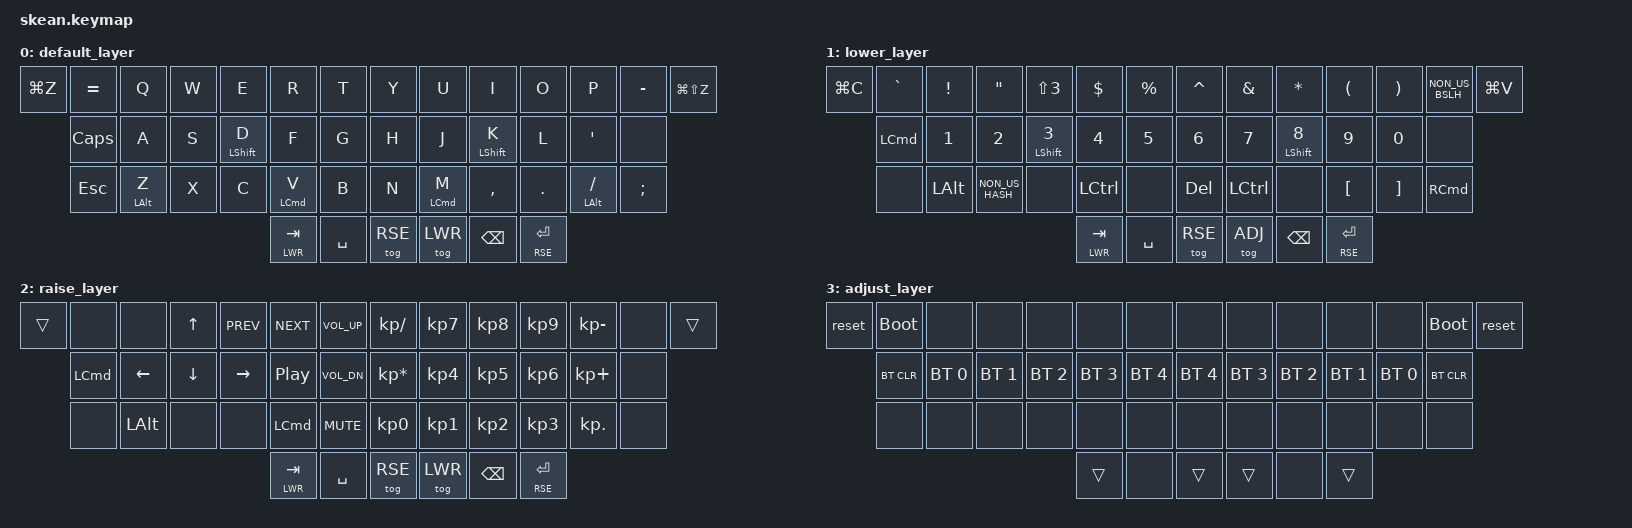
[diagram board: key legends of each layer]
/*
 * Copyright (c) 2020 The ZMK Contributors
 *
 * SPDX-License-Identifier: MIT
 */

#include <behaviors.dtsi>
#include <dt-bindings/zmk/keys.h>
#include <dt-bindings/zmk/bt.h>

#define DEF 0
#define LWR 1
#define RSE 2
#define ADJ 3

&lt { quick_tap_ms = <250>; };
&mt { quick_tap_ms = <250>; };

/ {
        keymap {
                compatible = "zmk,keymap";

                default_layer {
// -----------------------------------------------------------------------------------------
// | UNDO | = |  Q  |  W  |  E  |  R  |  T  |   |  Y  |  U   |  I  |  O  |  P  | - | REDO |
//        | CAPS |  A  |  S  |  D/SHIFT  |  F  |  G  |   |  H  |  J   |  K/SHIFT  |  L  |  '  | TK |
//        | ESC |  Z/OPT  |  X  |  C  |  V/CMD  |  B  |   |  N  |  M/CMD   |  ,  |  .  |  //OPT  | ; |
//                           | TAB | SPC | RSE |   | LWR | BKSP | ENTER |
                        bindings = <
  &kp LG(Z) &kp EQUAL &kp Q &kp W &kp E &kp R &kp T         &kp Y  &kp U  &kp I  &kp O  &kp P  &kp MINUS &kp LG(LS(Z))
            &kp CAPS &kp A &kp S &mt LSHIFT D  &kp F &kp G        &kp H   &kp J  &mt LSHIFT K &kp L &kp SQT &none
            &kp ESC &mt LALT Z &kp X &kp C &mt LCMD V &kp B       &kp N &mt LCMD M  &kp COMMA &kp DOT &mt LALT FSLH &kp SEMI
                         &lt LWR TAB &kp SPACE &tog RSE &tog LWR &kp BKSP &lt RSE ENTER
                        >;
                };
                lower_layer {
// -----------------------------------------------------------------------------------------
// |COPY |  `  |  !  |  "  |  ₤  |  $  |  %  |   |  ^  |  &  |  *  |  (  |  )  |  |  |PASTE |
//          |    |  1  |  2  |  3/SHIFT  |  4  |  5  |   |  6  |  7  |  8/SHIFT  |  9  |  0  |     |  
//          |    |  OPT |  # |    | CMD |    |   |  DEL |  CMD |    |  [  |  ] |   |
//                  | TAB | SPC | RSE |   | LWR | BKSP | ENTER |
                        bindings = <
   &kp LG(C) &kp GRAVE &kp EXCL &kp DQT &kp LS(3) &kp DLLR &kp PRCNT        &kp CARET &kp AMPS &kp STAR &kp LPAR &kp RPAR &kp NON_US_BSLH &kp LG(V)
                       &kp LCMD &kp N1  &kp N2 &mt LSHIFT N3 &kp N4   &kp N5         &kp N6  &kp N7 &mt LSHIFT N8   &kp N9   &kp N0   &none
                       &none &kp LALT &kp NON_US_HASH &none &kp LCTRL &none         &kp DEL &kp LCTRL &none &kp LBKT &kp RBKT &kp RCMD
                                  &lt LWR TAB &kp SPACE &tog RSE &tog ADJ &kp BKSP &lt RSE ENTER
                        >;
                };

                raise_layer {
// -----------------------------------------------------------------------------------------
// |     |      |     |  UP | PREV| NEXT|VOL U|   |  /  |  7  |  8  |  9  |  -  |     |     |
//       | CMD | LEFT|DOWN |RIGHT|  PP |VOL D|   |  *  |  4  |5/SHFT|  6 |  +  |     |
//       |      | OPT |     |     |CMD | MUTE|   |  0  |  1  |  2   |  3 |  .  |     |
                        bindings = <
   &trans    &none  &none     &kp UP   &kp C_PREV &kp C_NEXT &kp C_VOL_UP       &kp KP_SLASH    &kp KP_N7 &kp KP_N8 &kp KP_N9 &kp KP_MINUS &none  &trans
          &kp LCMD &kp LEFT &kp DOWN &kp RIGHT  &kp C_PP   &kp C_VOL_DN       &kp KP_MULTIPLY &kp KP_N4 &kp KP_N5 &kp KP_N6 &kp KP_PLUS  &none
          &none &kp LALT   &none     &none        &kp LCMD  &kp C_MUTE        &kp KP_N0  &kp KP_N1 &kp KP_N2 &kp KP_N3 &kp KP_DOT &none
                                     &lt LWR TAB &kp SPACE &tog RSE &tog LWR &kp BKSP &lt RSE ENTER
                        >;
                };
                adjust_layer {
// -----------------------------------------------------------------------------------------
// | RST | BLDR |     |     |     |     |     |   |     |     |     |     |     | BLDR | RST |
//       | BTCLR| BT0 | BT1 | BT2 | BT3 | BT4 |   | BT4 | BT3 | BT2 | BT1 | BT0 | BTCLR|
//       |      |     |     |     |     |     |   |     |     |     |     |     |      |
//                          |     |     |     |   |     |     |     |
                        bindings = <
   &reset &bootloader  &none        &none        &none        &none        &none              &none        &none        &none        &none        &none         &bootloader &reset
          &bt BT_CLR   &bt BT_SEL 0 &bt BT_SEL 1 &bt BT_SEL 2 &bt BT_SEL 3 &bt BT_SEL 4       &bt BT_SEL 4 &bt BT_SEL 3 &bt BT_SEL 2 &bt BT_SEL 1 &bt BT_SEL 0  &bt BT_CLR
          &none        &none        &none        &none        &none        &none              &none        &none        &none        &none        &none         &none
                                                                    &trans &none &trans   &trans &none &trans
                        >;
                };
        };
};
